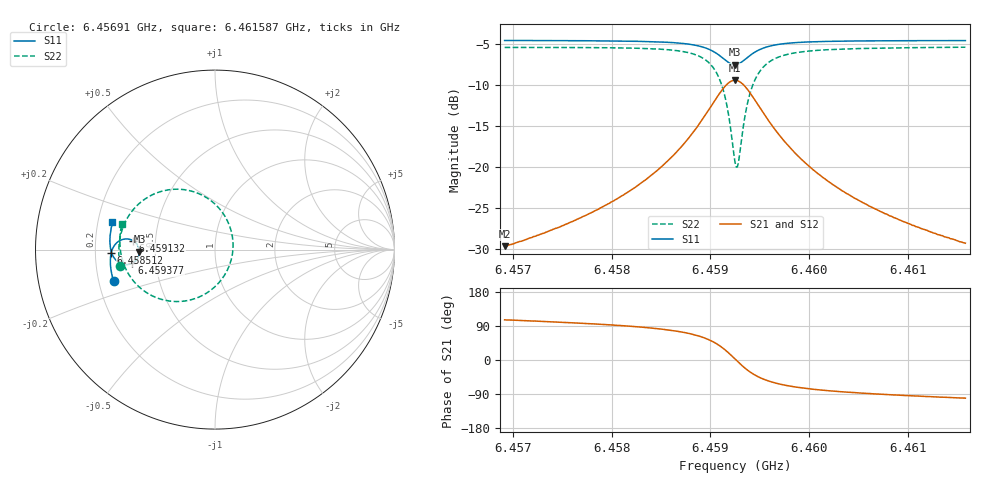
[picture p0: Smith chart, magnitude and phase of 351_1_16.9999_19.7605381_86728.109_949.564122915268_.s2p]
#  HZ  S  RI  R  50.00
! Rohde & Schwarz Vector Network Analyzer
! Rohde-Schwarz,ZNB20-2Port,1311601062101988,3.16
! Created: UTC 3/20/2024, 11:07:49 PM
! freq[Hz]  re:S11  im:S11  re:S21  im:S21  re:S12  im:S12  re:S22  im:S22
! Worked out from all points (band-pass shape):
!   401 points, 6.45691 GHz to 6.461587 GHz, reference 50 ohm
!   highest |S21| = -9.39 dB at 6.459249 GHz (marker M1); lowest = -29.6 dB at 6.45691 GHz (marker M2)
!   |S21| within 3 dB of the highest: 6.459015 GHz to 6.459482 GHz (467.2 kHz wide, 0.00723 % of centre)
!   lowest |S11| = -7.5 dB at 6.459249 GHz (marker M3), VSWR 2.45, Z = 20.4 - j0.583 ohm
!   |S11| at or under -10 dB: nowhere
!   |S22| runs from -20.0 to -5.4 dB; largest |S21 - S12| = 0.013
!   S11 on the Smith chart (normalised r, x): 6.45691 GHz: 0.26, -0.14; 6.458512 GHz: 0.27, -0.02; 6.459132 GHz: 0.37, +0.05; 6.459377 GHz: 0.36, -0.07; 6.461587 GHz: 0.26, +0.12
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6.4569102e9  -0.565 -0.1774  -0.00912 0.0318  -0.00736 0.0317  -0.5294 -0.09
6.4576937e9  -0.5798 -0.1094  -0.00602 0.0494  -0.00352 0.0489  -0.5359 7.71e-05
6.4581146e9  -0.583 -0.0676  -0.000413 0.0677  0.00274 0.0666  -0.5291 0.0653
6.4584771e9  -0.5797 -0.0249  0.0132 0.0969  0.0171 0.0942  -0.5044 0.1445
6.4585122e9  -0.5788 -0.0201  0.0156 0.1009  0.0197 0.0981  -0.4998 0.1541
6.4587344e9  -0.5665 0.0132  0.042 0.1336  0.0461 0.1289  -0.4507 0.2285
6.4588864e9  -0.5457 0.0395  0.0838 0.1635  0.0872 0.157  -0.3736 0.2923
6.4590384e9  -0.5003 0.0593  0.1738 0.1827  0.1749 0.1753  -0.2093 0.3366
6.4591319e9  -0.4566 0.0497  0.2624 0.1525  0.2627 0.1466  -0.0458 0.2885
6.4591787e9  -0.4356 0.0313  0.3055 0.1105  0.3065 0.1054  0.0359 0.2142
6.4592489e9  -0.4209 -0.0118  0.3388 0.0158  0.342 0.00875  0.1004 0.0386
6.4592605e9  -0.4214 -0.0197  0.3385 -0.0018  0.3422 -0.00916  0.1004 0.00579
6.4592839e9  -0.4247 -0.035  0.3332 -0.036  0.3368 -0.0446  0.0897 -0.0587
6.4593307e9  -0.4399 -0.0606  0.3056 -0.0948  0.3075 -0.1062  0.0341 -0.1697
6.4593775e9  -0.4616 -0.0766  0.2646 -0.1354  0.2636 -0.1481  -0.0487 -0.2435
6.459471e9  -0.5041 -0.0832  0.1814 -0.1663  0.1754 -0.1774  -0.2136 -0.2894
6.459623e9  -0.5474 -0.0628  0.0951 -0.1532  0.0869 -0.1593  -0.3781 -0.242
6.4597867e9  -0.5686 -0.0353  0.0509 -0.126  0.0435 -0.1286  -0.4571 -0.1714
6.4600323e9  -0.5811 0.000316  0.0222 -0.0952  0.0165 -0.0957  -0.5046 -0.0905
6.4603597e9  -0.5856 0.0389  0.00707 -0.0703  0.00292 -0.0699  -0.5252 -0.0166
6.4608157e9  -0.5835 0.0846  -0.00127 -0.0507  -0.00405 -0.05  -0.5301 0.0555
6.4615875e9  -0.5711 0.1526  -0.0064 -0.0339  -0.00805 -0.033  -0.5187 0.1454
